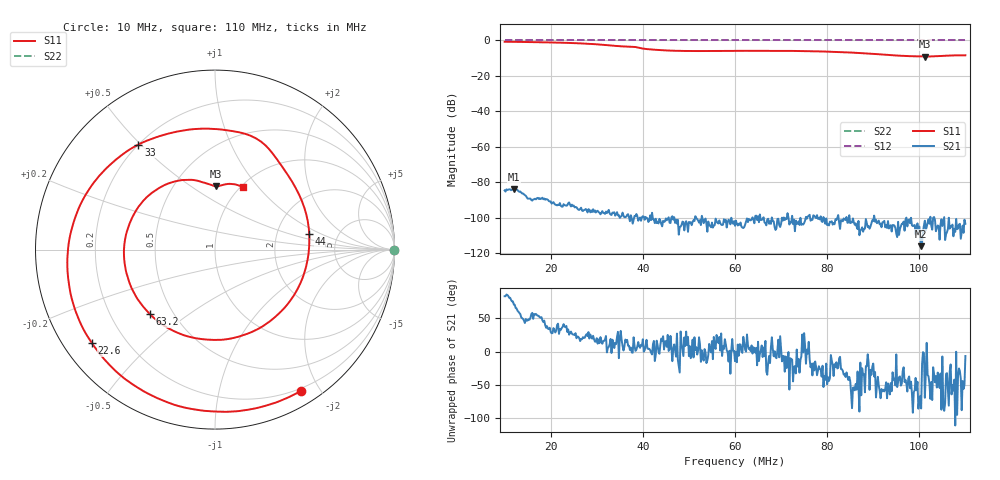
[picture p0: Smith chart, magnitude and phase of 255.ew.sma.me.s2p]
! Anritsu VNA Master:  Model: MS2036C/10/77
! SN:  1601066
! /card0/usr/255.ew.sma.me.s2p
! Existing Calibration Information:
! TYPE:  Current Settings,  Active Cal Settings
! TIME:  12/19/2017 06:16:06 PM,  12/19/2017 06:04:41 PM
! INTERNAL TEMP:  41.0 C,  39.8 C
! # POINTS:  501,  501
! START FREQ:  10.000 MHz,  10.000 MHz
! STOP FREQ:  110.000 MHz,  110.000 MHz
! SOURCE POWER:  High,  High
! IFBW:  100 Hz,  100 Hz
! AVG FACTOR:  1 ,  1
! REF PLANE 1:  0 mm,  0 mm
! REF PLANE 2:  0 mm,  0 mm
! CAL TYPE:  Full S11,  Full S11
! CAL METHOD:  SOLT,  SOLT
! CAL LINE TYPE:  Coax,  Coax
! DUT PORT 1:  N-Conn(F),  N-Conn(F)
! DUT PORT 2:  K-Conn(F),  K-Conn(F)
! CAL STATUS:  OK: Accuracy High,  --
# GHZ S DB R 50.0
! FREQ.GHZ  S11DB  S11A  S21DB  S21A  S12DB  S12A  S22DB  S22A
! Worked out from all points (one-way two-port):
!   501 points, 10 MHz to 110 MHz, reference 50 ohm
!   highest |S21| = -83.75 dB at 12 MHz (marker M1); lowest = -116.0 dB at 100.4 MHz (marker M2)
!   lowest |S11| = -9.1 dB at 101.2 MHz (marker M3), VSWR 2.09, Z = 39.5 + j31.8 ohm
!   |S11| at or under -10 dB: nowhere
!   |S22| runs from 0.0 to 0.0 dB; largest |S21 - S12| = 1
!   S11 on the Smith chart (normalised r, x): 10 MHz: 0.17, -1.77; 22.6 MHz: 0.08, -0.33; 33 MHz: 0.20, +0.49; 44 MHz: 3.08, +0.73; 63.2 MHz: 0.37, -0.36; 110 MHz: 1.02, +0.83
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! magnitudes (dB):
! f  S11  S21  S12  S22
! 10 MHz  -0.7  -84.6  0.0  0.0
! 12 MHz  -0.8  -83.8  0.0  0.0
! 22.6 MHz  -1.3  -93.7  0.0  0.0
! 26.8 MHz  -1.7  -96.0  0.0  0.0
! 33 MHz  -2.8  -98.2  0.0  0.0
! 35.2 MHz  -3.3  -99.4  0.0  0.0
! 38 MHz  -3.5  -101.1  0.0  0.0
! 40.4 MHz  -4.7  -101.1  0.0  0.0
! 43.4 MHz  -5.4  -103.2  0.0  0.0
! 44 MHz  -5.5  -103.5  0.0  0.0
! 50.2 MHz  -6.0  -102.8  0.0  0.0
! 60 MHz  -5.9  -104.5  0.0  0.0
! 63.2 MHz  -5.8  -101.4  0.0  0.0
! 71.4 MHz  -5.9  -97.4  0.0  0.0
! 76.8 MHz  -6.1  -101.2  0.0  0.0
! 85 MHz  -6.8  -103.0  0.0  0.0
! 93.4 MHz  -8.2  -106.0  0.0  0.0
! 97 MHz  -8.8  -101.1  0.0  0.0
! 100.4 MHz  -9.0  -116.0  0.0  0.0
! 101.2 MHz  -9.1  -101.7  0.0  0.0
! 107 MHz  -8.5  -104.9  0.0  0.0
! 110 MHz  -8.4  -103.4  0.0  0.0
